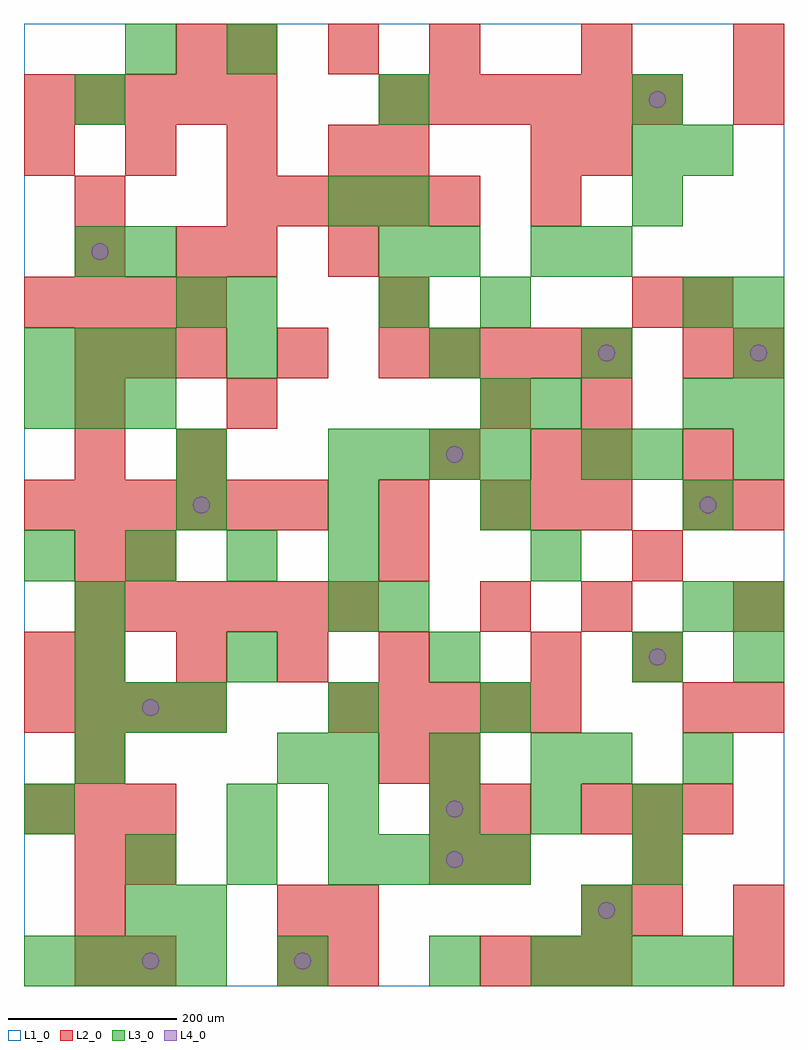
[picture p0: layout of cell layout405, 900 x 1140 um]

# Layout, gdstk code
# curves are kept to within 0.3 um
import gdstk
lib = gdstk.Library(unit=1e-6, precision=1e-09)
def R(c, l, rs):  # rectangles x0, y0, x1, y1
    for r in rs: c.add(gdstk.rectangle(r[:2], r[2:], *l))
def A(c, l, x, y, w, h, nx, ny, dx, dy):  # array of equal rectangles
    R(c, l, [(x+i*dx, y+j*dy, x+i*dx+w, y+j*dy+h) for i in range(nx) for j in range(ny)])
def P(c, l, *ps):  # polygons
    for p in ps: c.add(gdstk.Polygon(p, *l))
L1_0 = (1, 0)
L2_0 = (2, 0)
L3_0 = (3, 0)
L4_0 = (4, 0)

layout405 = lib.new_cell('layout405')
R(layout405, L1_0, [(0,0,900,1140)])
A(layout405, L2_0, 60, 0, 60, 60, 1, 3, 0, 60)
A(layout405, L2_0, 540, 0, 60, 60, 3, 2, 60, 540)
A(layout405, L2_0, 480, 120, 60, 60, 1, 3, 0, 60)
A(layout405, L2_0, 0, 180, 60, 60, 3, 1, 60, 0)
A(layout405, L2_0, 540, 180, 60, 60, 1, 3, 0, 240)
A(layout405, L2_0, 660, 180, 60, 60, 3, 1, 60, 0)
A(layout405, L2_0, 0, 300, 60, 60, 4, 2, 60, 480)
A(layout405, L2_0, 360, 300, 60, 60, 5, 1, 60, 0)
A(layout405, L2_0, 840, 300, 60, 60, 1, 3, 0, 120)
A(layout405, L2_0, 60, 360, 60, 60, 4, 1, 120, 0)
A(layout405, L2_0, 60, 420, 60, 60, 6, 1, 60, 0)
A(layout405, L2_0, 120, 480, 60, 60, 3, 1, 300, 0)
A(layout405, L2_0, 0, 540, 60, 60, 6, 1, 60, 0)
A(layout405, L2_0, 180, 600, 60, 60, 1, 3, 0, 240)
A(layout405, L2_0, 60, 720, 60, 60, 3, 1, 60, 0)
A(layout405, L2_0, 420, 720, 60, 60, 5, 1, 60, 0)
A(layout405, L2_0, 240, 900, 60, 60, 5, 1, 60, 0)
A(layout405, L2_0, 0, 960, 60, 60, 4, 1, 120, 0)
A(layout405, L2_0, 0, 1020, 60, 60, 5, 1, 60, 0)
A(layout405, L2_0, 420, 1020, 60, 60, 6, 1, 60, 0)
A(layout405, L2_0, 240, 1080, 60, 60, 3, 1, 120, 0)
R(layout405, L2_0, [(120,0,180,60), (300,0,360,60), (360,0,420,60), (840,0,900,60), (300,60,360,120), (360,60,420,120), (660,60,720,120), (720,60,780,120), (840,60,900,120), (120,120,180,180), (540,120,600,180), (720,120,780,180), (60,240,120,300), (420,240,480,300), (780,300,840,360), (0,360,60,420), (600,360,660,420), (720,360,780,420), (660,420,720,480), (60,480,120,540), (420,540,480,600), (780,540,840,600), (60,600,120,660), (480,600,540,660), (600,600,660,660), (660,600,720,660), (780,600,840,660), (60,660,120,720), (240,660,300,720), (660,660,720,720), (300,720,360,780), (780,720,840,780), (840,720,900,780), (420,780,480,840), (720,780,780,840), (780,780,840,840), (60,840,120,900), (240,840,300,900), (360,840,420,900), (60,900,120,960), (600,900,660,960), (420,960,480,1020), (600,960,660,1020), (660,960,720,1020), (840,1020,900,1080), (660,1080,720,1140), (840,1080,900,1140)])
A(layout405, L3_0, 0, 0, 60, 60, 4, 1, 60, 0)
A(layout405, L3_0, 600, 0, 60, 60, 4, 1, 60, 0)
A(layout405, L3_0, 120, 120, 60, 60, 3, 1, 120, 0)
A(layout405, L3_0, 420, 120, 60, 60, 3, 1, 60, 0)
A(layout405, L3_0, 240, 180, 60, 60, 5, 1, 120, 0)
A(layout405, L3_0, 360, 240, 60, 60, 3, 1, 120, 0)
A(layout405, L3_0, 60, 300, 60, 60, 3, 1, 60, 0)
A(layout405, L3_0, 240, 360, 60, 60, 3, 1, 240, 0)
A(layout405, L3_0, 780, 420, 60, 60, 1, 4, 0, 120)
A(layout405, L3_0, 0, 480, 60, 60, 4, 1, 120, 0)
A(layout405, L3_0, 600, 480, 60, 60, 1, 3, 0, 180)
A(layout405, L3_0, 180, 540, 60, 60, 3, 1, 180, 0)
A(layout405, L3_0, 360, 600, 60, 60, 4, 1, 60, 0)
A(layout405, L3_0, 0, 660, 60, 60, 3, 2, 60, 60)
A(layout405, L3_0, 480, 720, 60, 60, 3, 1, 180, 0)
A(layout405, L3_0, 420, 780, 60, 60, 1, 3, 0, 60)
A(layout405, L3_0, 720, 900, 60, 60, 1, 3, 0, 60)
R(layout405, L3_0, [(300,0,360,60), (480,0,540,60), (120,60,180,120), (180,60,240,120), (660,60,720,120), (720,120,780,180), (0,180,60,240), (60,240,120,300), (300,240,360,300), (660,240,720,300), (780,240,840,300), (360,300,420,360), (540,300,600,360), (60,360,120,420), (840,360,900,420), (60,420,120,480), (360,420,420,480), (420,420,480,480), (840,420,900,480), (180,600,240,660), (660,600,720,660), (720,600,780,660), (840,600,900,660), (540,660,600,720), (840,660,900,720), (240,720,300,780), (180,780,240,840), (240,780,300,840), (540,780,600,840), (840,780,900,840), (60,840,120,900), (120,840,180,900), (480,840,540,900), (660,840,720,900), (360,900,420,960), (780,960,840,1020), (60,1020,120,1080), (420,1020,480,1080), (120,1080,180,1140), (240,1080,300,1140)])
P(layout405, L4_0, [(100,870),(99.239,873.827),(97.071,877.071),(93.827,879.239),(90,880),(86.173,879.239),(82.929,877.071),(80.761,873.827),(80,870),(80.761,866.173),(82.929,862.929),(86.173,860.761),(90,860),(93.827,860.761),(97.071,862.929),(99.239,866.173)],
  [(160,30),(159.239,33.827),(157.071,37.071),(153.827,39.239),(150,40),(146.173,39.239),(142.929,37.071),(140.761,33.827),(140,30),(140.761,26.173),(142.929,22.929),(146.173,20.761),(150,20),(153.827,20.761),(157.071,22.929),(159.239,26.173)],
  [(160,330),(159.239,333.827),(157.071,337.071),(153.827,339.239),(150,340),(146.173,339.239),(142.929,337.071),(140.761,333.827),(140,330),(140.761,326.173),(142.929,322.929),(146.173,320.761),(150,320),(153.827,320.761),(157.071,322.929),(159.239,326.173)],
  [(220,570),(219.239,573.827),(217.071,577.071),(213.827,579.239),(210,580),(206.173,579.239),(202.929,577.071),(200.761,573.827),(200,570),(200.761,566.173),(202.929,562.929),(206.173,560.761),(210,560),(213.827,560.761),(217.071,562.929),(219.239,566.173)],
  [(340,30),(339.239,33.827),(337.071,37.071),(333.827,39.239),(330,40),(326.173,39.239),(322.929,37.071),(320.761,33.827),(320,30),(320.761,26.173),(322.929,22.929),(326.173,20.761),(330,20),(333.827,20.761),(337.071,22.929),(339.239,26.173)],
  [(520,150),(519.239,153.827),(517.071,157.071),(513.827,159.239),(510,160),(506.173,159.239),(502.929,157.071),(500.761,153.827),(500,150),(500.761,146.173),(502.929,142.929),(506.173,140.761),(510,140),(513.827,140.761),(517.071,142.929),(519.239,146.173)],
  [(520,210),(519.239,213.827),(517.071,217.071),(513.827,219.239),(510,220),(506.173,219.239),(502.929,217.071),(500.761,213.827),(500,210),(500.761,206.173),(502.929,202.929),(506.173,200.761),(510,200),(513.827,200.761),(517.071,202.929),(519.239,206.173)],
  [(520,630),(519.239,633.827),(517.071,637.071),(513.827,639.239),(510,640),(506.173,639.239),(502.929,637.071),(500.761,633.827),(500,630),(500.761,626.173),(502.929,622.929),(506.173,620.761),(510,620),(513.827,620.761),(517.071,622.929),(519.239,626.173)],
  [(700,90),(699.239,93.827),(697.071,97.071),(693.827,99.239),(690,100),(686.173,99.239),(682.929,97.071),(680.761,93.827),(680,90),(680.761,86.173),(682.929,82.929),(686.173,80.761),(690,80),(693.827,80.761),(697.071,82.929),(699.239,86.173)],
  [(700,750),(699.239,753.827),(697.071,757.071),(693.827,759.239),(690,760),(686.173,759.239),(682.929,757.071),(680.761,753.827),(680,750),(680.761,746.173),(682.929,742.929),(686.173,740.761),(690,740),(693.827,740.761),(697.071,742.929),(699.239,746.173)],
  [(760,390),(759.239,393.827),(757.071,397.071),(753.827,399.239),(750,400),(746.173,399.239),(742.929,397.071),(740.761,393.827),(740,390),(740.761,386.173),(742.929,382.929),(746.173,380.761),(750,380),(753.827,380.761),(757.071,382.929),(759.239,386.173)],
  [(760,1050),(759.239,1053.827),(757.071,1057.071),(753.827,1059.239),(750,1060),(746.173,1059.239),(742.929,1057.071),(740.761,1053.827),(740,1050),(740.761,1046.173),(742.929,1042.929),(746.173,1040.761),(750,1040),(753.827,1040.761),(757.071,1042.929),(759.239,1046.173)],
  [(820,570),(819.239,573.827),(817.071,577.071),(813.827,579.239),(810,580),(806.173,579.239),(802.929,577.071),(800.761,573.827),(800,570),(800.761,566.173),(802.929,562.929),(806.173,560.761),(810,560),(813.827,560.761),(817.071,562.929),(819.239,566.173)],
  [(880,750),(879.239,753.827),(877.071,757.071),(873.827,759.239),(870,760),(866.173,759.239),(862.929,757.071),(860.761,753.827),(860,750),(860.761,746.173),(862.929,742.929),(866.173,740.761),(870,740),(873.827,740.761),(877.071,742.929),(879.239,746.173)])

lib.write_gds('layout405.gds')
